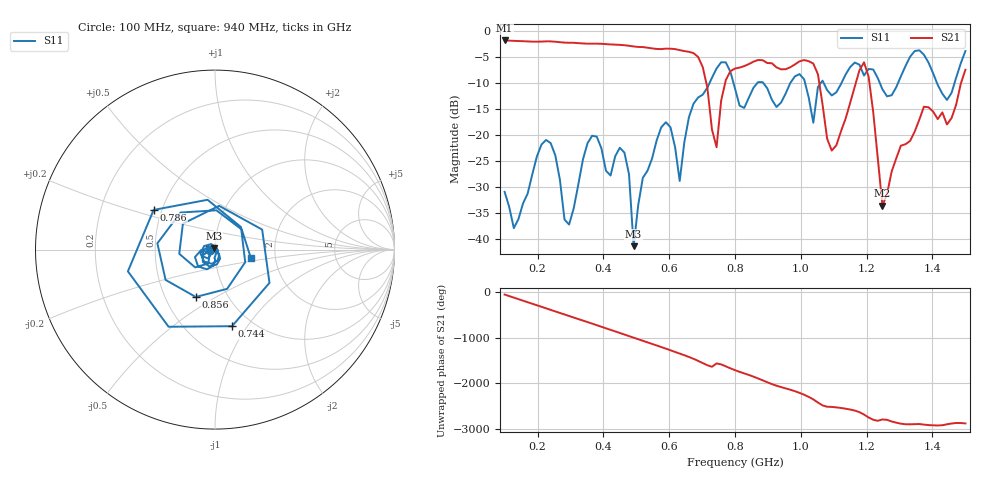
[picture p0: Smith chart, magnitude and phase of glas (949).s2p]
! NanoVNA-App
! Date: 2025-09-25 16:02:51
! Start: 100MHz Stop: 1,5GHz Points: 101
! S-Parameter data: F S11 S21 S12 S22
# Hz S RI R 50
!  Frequency  S11_Real  S11_Imag  S21_Real  S21_Imag  S12_Real  S12_Imag  S22_Real  S22_Imag
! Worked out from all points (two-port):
!   101 points, 100 MHz to 1.5 GHz, reference 50 ohm
!   highest |S21| = -1.80 dB at 100 MHz (marker M1); lowest = -33.6 dB at 1.248 GHz (marker M2)
!   |S21| within 3 dB of the highest: start of sweep to 684.6 MHz
!   lowest |S11| = -41.4 dB at 492 MHz (marker M3), VSWR 1.02, Z = 49.4 + j0.642 ohm
!   |S11| at or under -10 dB: start of sweep to 722.5 MHz; 795.5 MHz to 867.6 MHz (72.14 MHz wide, 8.68 % of centre); 886.2 MHz to 967.8 MHz (81.66 MHz wide, 8.81 % of centre)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
!   S12 and S22 are empty: the file has one direction only
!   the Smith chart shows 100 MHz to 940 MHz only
!   S11 on the Smith chart (normalised r, x): 100 MHz: 0.94, -0.01; 744 MHz: 0.81, -0.85; 786 MHz: 0.45, +0.24; 856 MHz: 0.71, -0.41; 940 MHz: 1.49, -0.15
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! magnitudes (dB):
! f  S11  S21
! 100 MHz  -30.9  -1.8
! 128 MHz  -37.9  -1.9
! 226 MHz  -20.9  -2.0
! 296 MHz  -37.2  -2.2
! 338 MHz  -24.7  -2.4
! 464 MHz  -23.4  -2.7
! 492 MHz  -41.4  -3.0
! 576 MHz  -18.5  -3.5
! 632 MHz  -28.8  -3.7
! 702 MHz  -12.2  -6.9
! 744 MHz  -7.2  -22.3
! 786 MHz  -7.8  -7.7
! 800 MHz  -11.0  -7.2
! 856 MHz  -10.9  -5.9
! 940 MHz  -13.7  -7.4
! 996 MHz  -8.3  -5.8
! 1.038 GHz  -17.6  -6.3
! 1.094 GHz  -12.4  -23.0
! 1.192 GHz  -8.5  -6.0
! 1.248 GHz  -11.2  -33.6
! 1.276 GHz  -12.3  -27.0
! 1.5 GHz  -3.9  -7.4
